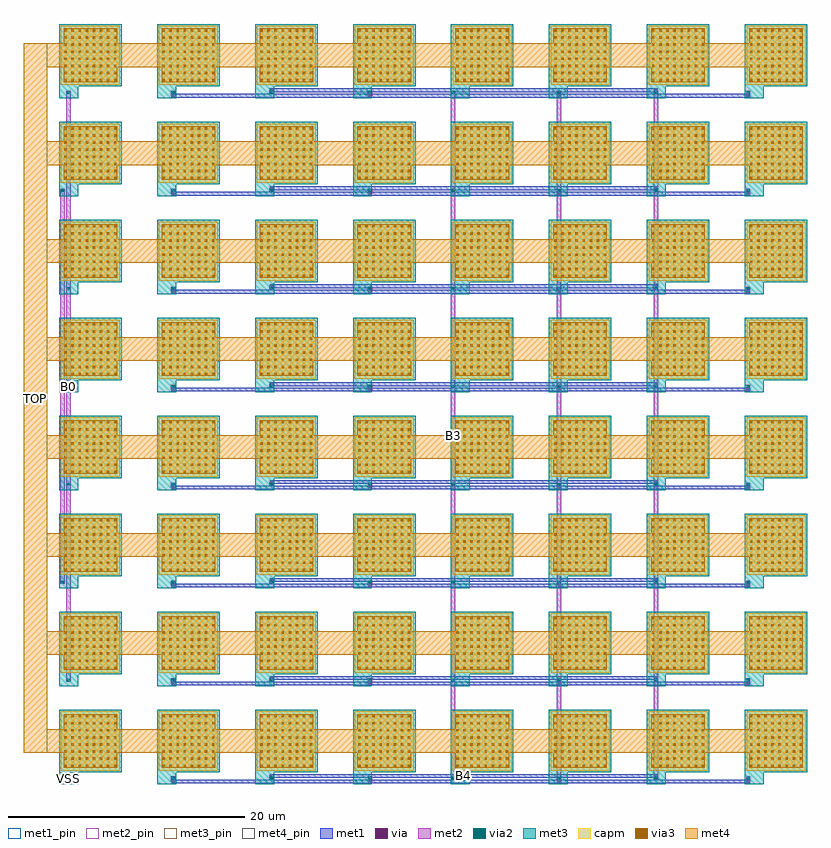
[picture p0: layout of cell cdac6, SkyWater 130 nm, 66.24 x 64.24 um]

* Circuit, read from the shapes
.subckt cdac6 B0 B1 B2 B3 B4 B5 TOP VSS
XC1 TOP VSS sky130_fd_pr__cap_mim_m3_1 w=5 l=5
XC2 TOP B2 sky130_fd_pr__cap_mim_m3_1 w=5 l=5 m=4
XC3 TOP B1 sky130_fd_pr__cap_mim_m3_1 w=5 l=5 m=2
XC4 TOP B0 sky130_fd_pr__cap_mim_m3_1 w=5 l=5
XC5 TOP B5 sky130_fd_pr__cap_mim_m3_1 w=5 l=5 m=32
XC6 TOP B4 sky130_fd_pr__cap_mim_m3_1 w=5 l=5 m=16
XC7 TOP B3 sky130_fd_pr__cap_mim_m3_1 w=5 l=5 m=8
.ends

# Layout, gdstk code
import gdstk
lib = gdstk.Library(unit=1e-6, precision=1e-09)
def R(c, l, rs):  # rectangles x0, y0, x1, y1
    for r in rs: c.add(gdstk.rectangle(r[:2], r[2:], *l))
def A(c, l, x, y, w, h, nx, ny, dx, dy):  # array of equal rectangles
    R(c, l, [(x+i*dx, y+j*dy, x+i*dx+w, y+j*dy+h) for i in range(nx) for j in range(ny)])
met1_pin = (68, 16)
met1 = (68, 20)
via = (68, 44)
met2_pin = (69, 16)
met2 = (69, 20)
via2 = (69, 44)
met3_pin = (70, 16)
met3 = (70, 20)
via3 = (70, 44)
met4_pin = (71, 16)
met4 = (71, 20)
capm = (89, 44)

cdac6 = lib.new_cell('cdac6')
R(cdac6, met1_pin, [(9.49,-1.08,58.11,-0.76), (17.81,-0.62,50.31,-0.3)])
A(cdac6, met1, 9.36, -1.08, 0.26, 0.32, 1, 8, 0, 8.28)
A(cdac6, met1, 9.49, -1.08, 48.62, 0.32, 1, 8, 0, 8.28)
A(cdac6, met1, 26, -1.08, 0.26, 0.32, 1, 8, 0, 8.28)
A(cdac6, met1, 57.98, -1.08, 0.26, 0.32, 1, 8, 0, 8.28)
A(cdac6, met1, 17.68, -0.62, 0.26, 0.32, 1, 8, 0, 8.28)
A(cdac6, met1, 17.81, -0.62, 32.5, 0.32, 1, 8, 0, 8.28)
R(cdac6, met1, [(41.99,-1.08,42.25,-0.76), (41.99,-1.08,42.25,-0.76), (50.18,-0.62,50.44,-0.3), (50.18,-0.62,50.44,-0.3), (41.99,7.2,42.25,7.52), (41.99,7.2,42.25,7.52), (50.18,7.66,50.44,7.98), (50.18,7.66,50.44,7.98), (41.99,15.48,42.25,15.8), (41.99,15.48,42.25,15.8), (50.18,15.94,50.44,16.26), (50.18,15.94,50.44,16.26), (41.99,23.76,42.25,24.08), (41.99,23.76,42.25,24.08), (50.18,24.22,50.44,24.54), (50.18,24.22,50.44,24.54), (41.99,32.04,42.25,32.36), (41.99,32.04,42.25,32.36), (50.18,32.5,50.44,32.82), (50.18,32.5,50.44,32.82), (41.99,40.32,42.25,40.64), (41.99,40.32,42.25,40.64), (50.18,40.78,50.44,41.1), (50.18,40.78,50.44,41.1), (41.99,48.6,42.25,48.92), (41.99,48.6,42.25,48.92), (50.18,49.06,50.44,49.38), (50.18,49.06,50.44,49.38), (41.99,56.88,42.25,57.2), (41.99,56.88,42.25,57.2), (50.18,57.34,50.44,57.66), (50.18,57.34,50.44,57.66)])
A(cdac6, via, 9.415, -0.995, 0.15, 0.15, 1, 8, 0, 8.28)
A(cdac6, via, 26.055, -0.995, 0.15, 0.15, 1, 8, 0, 8.28)
A(cdac6, via, 58.035, -0.995, 0.15, 0.15, 1, 8, 0, 8.28)
A(cdac6, via, 17.735, -0.535, 0.15, 0.15, 1, 8, 0, 8.28)
R(cdac6, via, [(42.045,-0.995,42.195,-0.845), (42.045,-0.995,42.195,-0.845), (50.235,-0.535,50.385,-0.385), (50.235,-0.535,50.385,-0.385), (42.045,7.285,42.195,7.435), (42.045,7.285,42.195,7.435), (50.235,7.745,50.385,7.895), (50.235,7.745,50.385,7.895), (42.045,15.565,42.195,15.715), (42.045,15.565,42.195,15.715), (50.235,16.025,50.385,16.175), (50.235,16.025,50.385,16.175), (42.045,23.845,42.195,23.995), (42.045,23.845,42.195,23.995), (50.235,24.305,50.385,24.455), (50.235,24.305,50.385,24.455), (42.045,32.125,42.195,32.275), (42.045,32.125,42.195,32.275), (50.235,32.585,50.385,32.735), (50.235,32.585,50.385,32.735), (42.045,40.405,42.195,40.555), (42.045,40.405,42.195,40.555), (50.235,40.865,50.385,41.015), (50.235,40.865,50.385,41.015), (42.045,48.685,42.195,48.835), (42.045,48.685,42.195,48.835), (50.235,49.145,50.385,49.295), (50.235,49.145,50.385,49.295), (42.045,56.965,42.195,57.115), (42.045,56.965,42.195,57.115), (50.235,57.425,50.385,57.575), (50.235,57.425,50.385,57.575)])
R(cdac6, met2_pin, [(32.965,-0.64,33.335,57.32), (0.465,7.64,0.835,57.32), (-0.055,15.92,0.315,49.04)])
A(cdac6, met2, 9.33, -1.05, 0.32, 0.26, 1, 8, 0, 8.28)
A(cdac6, met2, 25.97, -1.05, 0.32, 0.26, 1, 8, 0, 8.28)
A(cdac6, met2, 57.95, -1.05, 0.32, 0.26, 1, 8, 0, 8.28)
A(cdac6, met2, 9.305, -0.92, 0.37, 0.28, 1, 8, 0, 8.28)
A(cdac6, met2, 25.945, -0.92, 0.37, 0.28, 3, 8, 15.99, 8.28)
A(cdac6, met2, 9.305, -0.78, 0.37, 0.28, 3, 8, 8.32, 8.28)
A(cdac6, met2, 32.965, -0.78, 0.37, 0.28, 1, 8, 0, 8.28)
A(cdac6, met2, 41.935, -0.78, 0.37, 0.28, 1, 8, 0, 8.28)
A(cdac6, met2, 50.125, -0.78, 0.37, 0.28, 1, 8, 0, 8.28)
A(cdac6, met2, 57.925, -0.78, 0.37, 0.28, 1, 8, 0, 8.28)
A(cdac6, met2, 17.625, -0.64, 0.37, 0.18, 1, 8, 0, 8.28)
A(cdac6, met2, 50.125, -0.64, 0.37, 0.18, 1, 8, 0, 8.28)
A(cdac6, met2, 17.65, -0.59, 0.32, 0.26, 1, 8, 0, 8.28)
A(cdac6, met2, 0.465, 7.5, 0.37, 0.28, 1, 4, 0, 16.56)
R(cdac6, met2, [(41.96,-1.05,42.28,-0.79), (41.96,-1.05,42.28,-0.79), (41.935,-0.92,42.305,57.04), (32.965,-0.64,33.335,57.32), (50.15,-0.59,50.47,-0.33), (50.15,-0.59,50.47,-0.33), (50.125,-0.46,50.495,57.5), (41.96,7.23,42.28,7.49), (41.96,7.23,42.28,7.49), (0.465,7.64,0.835,57.32), (50.15,7.69,50.47,7.95), (50.15,7.69,50.47,7.95), (41.96,15.51,42.28,15.77), (41.96,15.51,42.28,15.77), (-0.055,15.78,0.315,16.06), (-0.055,15.92,0.315,49.04), (50.15,15.97,50.47,16.23), (50.15,15.97,50.47,16.23), (41.96,23.79,42.28,24.05), (41.96,23.79,42.28,24.05), (50.15,24.25,50.47,24.51), (50.15,24.25,50.47,24.51), (41.96,32.07,42.28,32.33), (41.96,32.07,42.28,32.33), (50.15,32.53,50.47,32.79), (50.15,32.53,50.47,32.79), (41.96,40.35,42.28,40.61), (41.96,40.35,42.28,40.61), (50.15,40.81,50.47,41.07), (50.15,40.81,50.47,41.07), (41.96,48.63,42.28,48.89), (41.96,48.63,42.28,48.89), (-0.055,48.9,0.315,49.18), (50.15,49.09,50.47,49.35), (50.15,49.09,50.47,49.35), (41.96,56.91,42.28,57.17), (41.96,56.91,42.28,57.17), (50.15,57.37,50.47,57.63), (50.15,57.37,50.47,57.63)])
A(cdac6, via2, 9.39, -0.74, 0.2, 0.2, 3, 8, 8.32, 8.28)
A(cdac6, via2, 33.05, -0.74, 0.2, 0.2, 1, 8, 0, 8.28)
A(cdac6, via2, 42.02, -0.74, 0.2, 0.2, 1, 8, 0, 8.28)
A(cdac6, via2, 50.21, -0.74, 0.2, 0.2, 1, 8, 0, 8.28)
A(cdac6, via2, 58.01, -0.74, 0.2, 0.2, 1, 8, 0, 8.28)
A(cdac6, via2, 0.55, 7.54, 0.2, 0.2, 1, 4, 0, 16.56)
R(cdac6, via2, [(0.03,15.82,0.23,16.02), (0.03,48.94,0.23,49.14)])
R(cdac6, met3_pin, [(-0.14,-1.14,1.46,-0.14), (-0.14,31.98,1.46,32.98)])
A(cdac6, met3, -0.14, -1.14, 1.6, 1, 8, 8, 8.28, 8.28)
A(cdac6, met3, 9.325, -1.005, 0.33, 0.73, 3, 8, 8.32, 8.28)
A(cdac6, met3, 32.985, -1.005, 0.33, 0.73, 1, 8, 0, 8.28)
A(cdac6, met3, 41.955, -1.005, 0.33, 0.73, 1, 8, 0, 8.28)
A(cdac6, met3, 50.145, -1.005, 0.33, 0.73, 1, 8, 0, 8.28)
A(cdac6, met3, 57.945, -1.005, 0.33, 0.73, 1, 8, 0, 8.28)
A(cdac6, met3, -0.14, -0.14, 5.28, 5.28, 8, 8, 8.28, 8.28)
A(cdac6, met3, 0.485, 7.275, 0.33, 0.73, 1, 4, 0, 16.56)
R(cdac6, met3, [(-0.035,15.555,0.295,16.285), (-0.035,48.675,0.295,49.405)])
A(cdac6, via3, 0.3, 0.3, 0.2, 0.2, 8, 8, 0.6, 0.6)
A(cdac6, via3, 8.58, 0.3, 0.2, 0.2, 8, 8, 0.6, 0.6)
A(cdac6, via3, 16.86, 0.3, 0.2, 0.2, 8, 8, 0.6, 0.6)
A(cdac6, via3, 25.14, 0.3, 0.2, 0.2, 8, 8, 0.6, 0.6)
A(cdac6, via3, 33.42, 0.3, 0.2, 0.2, 8, 8, 0.6, 0.6)
A(cdac6, via3, 41.7, 0.3, 0.2, 0.2, 8, 8, 0.6, 0.6)
A(cdac6, via3, 49.98, 0.3, 0.2, 0.2, 8, 8, 0.6, 0.6)
A(cdac6, via3, 58.26, 0.3, 0.2, 0.2, 8, 8, 0.6, 0.6)
A(cdac6, via3, 0.3, 8.58, 0.2, 0.2, 8, 8, 0.6, 0.6)
A(cdac6, via3, 8.58, 8.58, 0.2, 0.2, 8, 8, 0.6, 0.6)
A(cdac6, via3, 16.86, 8.58, 0.2, 0.2, 8, 8, 0.6, 0.6)
A(cdac6, via3, 25.14, 8.58, 0.2, 0.2, 8, 8, 0.6, 0.6)
A(cdac6, via3, 33.42, 8.58, 0.2, 0.2, 8, 8, 0.6, 0.6)
A(cdac6, via3, 41.7, 8.58, 0.2, 0.2, 8, 8, 0.6, 0.6)
A(cdac6, via3, 49.98, 8.58, 0.2, 0.2, 8, 8, 0.6, 0.6)
A(cdac6, via3, 58.26, 8.58, 0.2, 0.2, 8, 8, 0.6, 0.6)
A(cdac6, via3, 0.3, 16.86, 0.2, 0.2, 8, 8, 0.6, 0.6)
A(cdac6, via3, 8.58, 16.86, 0.2, 0.2, 8, 8, 0.6, 0.6)
A(cdac6, via3, 16.86, 16.86, 0.2, 0.2, 8, 8, 0.6, 0.6)
A(cdac6, via3, 25.14, 16.86, 0.2, 0.2, 8, 8, 0.6, 0.6)
A(cdac6, via3, 33.42, 16.86, 0.2, 0.2, 8, 8, 0.6, 0.6)
A(cdac6, via3, 41.7, 16.86, 0.2, 0.2, 8, 8, 0.6, 0.6)
A(cdac6, via3, 49.98, 16.86, 0.2, 0.2, 8, 8, 0.6, 0.6)
A(cdac6, via3, 58.26, 16.86, 0.2, 0.2, 8, 8, 0.6, 0.6)
A(cdac6, via3, 0.3, 25.14, 0.2, 0.2, 8, 8, 0.6, 0.6)
A(cdac6, via3, 8.58, 25.14, 0.2, 0.2, 8, 8, 0.6, 0.6)
A(cdac6, via3, 16.86, 25.14, 0.2, 0.2, 8, 8, 0.6, 0.6)
A(cdac6, via3, 25.14, 25.14, 0.2, 0.2, 8, 8, 0.6, 0.6)
A(cdac6, via3, 33.42, 25.14, 0.2, 0.2, 8, 8, 0.6, 0.6)
A(cdac6, via3, 41.7, 25.14, 0.2, 0.2, 8, 8, 0.6, 0.6)
A(cdac6, via3, 49.98, 25.14, 0.2, 0.2, 8, 8, 0.6, 0.6)
A(cdac6, via3, 58.26, 25.14, 0.2, 0.2, 8, 8, 0.6, 0.6)
A(cdac6, via3, 0.3, 33.42, 0.2, 0.2, 8, 8, 0.6, 0.6)
A(cdac6, via3, 8.58, 33.42, 0.2, 0.2, 8, 8, 0.6, 0.6)
A(cdac6, via3, 16.86, 33.42, 0.2, 0.2, 8, 8, 0.6, 0.6)
A(cdac6, via3, 25.14, 33.42, 0.2, 0.2, 8, 8, 0.6, 0.6)
A(cdac6, via3, 33.42, 33.42, 0.2, 0.2, 8, 8, 0.6, 0.6)
A(cdac6, via3, 41.7, 33.42, 0.2, 0.2, 8, 8, 0.6, 0.6)
A(cdac6, via3, 49.98, 33.42, 0.2, 0.2, 8, 8, 0.6, 0.6)
A(cdac6, via3, 58.26, 33.42, 0.2, 0.2, 8, 8, 0.6, 0.6)
A(cdac6, via3, 0.3, 41.7, 0.2, 0.2, 8, 8, 0.6, 0.6)
A(cdac6, via3, 8.58, 41.7, 0.2, 0.2, 8, 8, 0.6, 0.6)
A(cdac6, via3, 16.86, 41.7, 0.2, 0.2, 8, 8, 0.6, 0.6)
A(cdac6, via3, 25.14, 41.7, 0.2, 0.2, 8, 8, 0.6, 0.6)
A(cdac6, via3, 33.42, 41.7, 0.2, 0.2, 8, 8, 0.6, 0.6)
A(cdac6, via3, 41.7, 41.7, 0.2, 0.2, 8, 8, 0.6, 0.6)
A(cdac6, via3, 49.98, 41.7, 0.2, 0.2, 8, 8, 0.6, 0.6)
A(cdac6, via3, 58.26, 41.7, 0.2, 0.2, 8, 8, 0.6, 0.6)
A(cdac6, via3, 0.3, 49.98, 0.2, 0.2, 8, 8, 0.6, 0.6)
A(cdac6, via3, 8.58, 49.98, 0.2, 0.2, 8, 8, 0.6, 0.6)
A(cdac6, via3, 16.86, 49.98, 0.2, 0.2, 8, 8, 0.6, 0.6)
A(cdac6, via3, 25.14, 49.98, 0.2, 0.2, 8, 8, 0.6, 0.6)
A(cdac6, via3, 33.42, 49.98, 0.2, 0.2, 8, 8, 0.6, 0.6)
A(cdac6, via3, 41.7, 49.98, 0.2, 0.2, 8, 8, 0.6, 0.6)
A(cdac6, via3, 49.98, 49.98, 0.2, 0.2, 8, 8, 0.6, 0.6)
A(cdac6, via3, 58.26, 49.98, 0.2, 0.2, 8, 8, 0.6, 0.6)
A(cdac6, via3, 0.3, 58.26, 0.2, 0.2, 8, 8, 0.6, 0.6)
A(cdac6, via3, 8.58, 58.26, 0.2, 0.2, 8, 8, 0.6, 0.6)
A(cdac6, via3, 16.86, 58.26, 0.2, 0.2, 8, 8, 0.6, 0.6)
A(cdac6, via3, 25.14, 58.26, 0.2, 0.2, 8, 8, 0.6, 0.6)
A(cdac6, via3, 33.42, 58.26, 0.2, 0.2, 8, 8, 0.6, 0.6)
A(cdac6, via3, 41.7, 58.26, 0.2, 0.2, 8, 8, 0.6, 0.6)
A(cdac6, via3, 49.98, 58.26, 0.2, 0.2, 8, 8, 0.6, 0.6)
A(cdac6, via3, 58.26, 58.26, 0.2, 0.2, 8, 8, 0.6, 0.6)
R(cdac6, met4_pin, [(-3.14,1.5,-1.14,61.46)])
A(cdac6, met4, 0.235, 0.235, 4.53, 4.53, 8, 8, 8.28, 8.28)
A(cdac6, met4, -3.14, 1.5, 65.865, 2, 1, 8, 0, 8.28)
R(cdac6, met4, [(-3.14,1.5,-1.14,61.46)])
A(cdac6, capm, 0, 0, 5, 5, 8, 8, 8.28, 8.28)
cdac6.add(gdstk.Label('TOP', (-2.14,31.48), layer=71, texttype=16))
cdac6.add(gdstk.Label('TOP', (-2.14,31.48), layer=71, texttype=5))
cdac6.add(gdstk.Label('B0', (0.66,32.48), layer=70, texttype=16))
cdac6.add(gdstk.Label('VSS', (0.66,-0.64), layer=70, texttype=16))
cdac6.add(gdstk.Label('B0', (0.66,32.48), layer=70, texttype=5))
cdac6.add(gdstk.Label('VSS', (0.66,-0.64), layer=70, texttype=5))
cdac6.add(gdstk.Label('B1', (0.13,32.48), layer=69, texttype=16))
cdac6.add(gdstk.Label('B2', (0.65,32.48), layer=69, texttype=16))
cdac6.add(gdstk.Label('B3', (33.15,28.34), layer=69, texttype=16))
cdac6.add(gdstk.Label('B1', (0.13,32.48), layer=69, texttype=5))
cdac6.add(gdstk.Label('B2', (0.65,32.48), layer=69, texttype=5))
cdac6.add(gdstk.Label('B3', (33.15,28.34), layer=69, texttype=5))
cdac6.add(gdstk.Label('B4', (34.06,-0.46), layer=68, texttype=16))
cdac6.add(gdstk.Label('B5', (33.8,-0.92), layer=68, texttype=16))
cdac6.add(gdstk.Label('B4', (34.06,-0.46), layer=68, texttype=5))
cdac6.add(gdstk.Label('B5', (33.8,-0.92), layer=68, texttype=5))

lib.write_gds('cdac6.gds')
